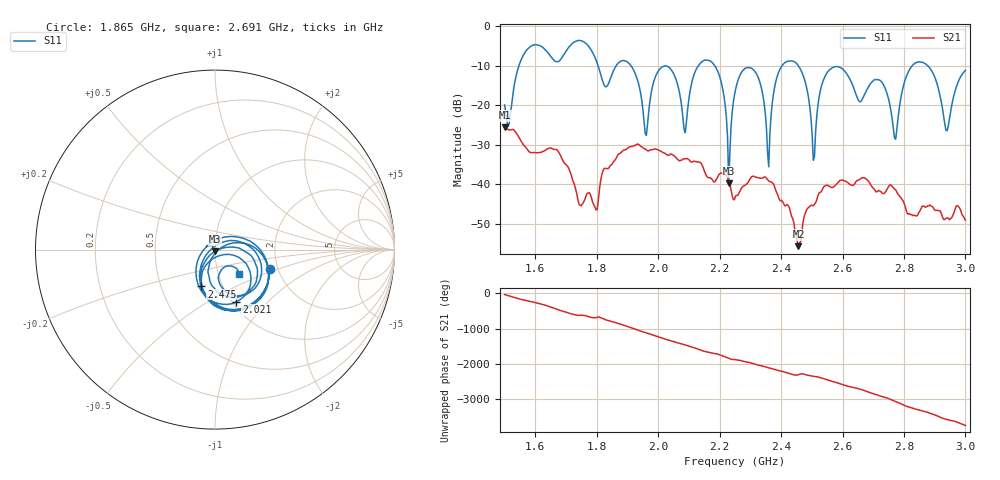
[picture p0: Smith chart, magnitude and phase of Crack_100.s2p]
# HZ S RI R 50
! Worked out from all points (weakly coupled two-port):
!   404 points, 1.5 GHz to 3 GHz, reference 50 ohm
!   highest |S21| = -25.58 dB at 1.5 GHz (marker M1); lowest = -55.7 dB at 2.457 GHz (marker M2)
!   lowest |S11| = -39.7 dB at 2.23 GHz (marker M3), VSWR 1.02, Z = 49.8 - j1 ohm
!   |S11| at or under -10 dB: 1.911 GHz to 2.131 GHz (219.2 MHz wide, 10.8 % of centre); 2.184 GHz to 2.403 GHz (218.7 MHz wide, 9.54 % of centre); 2.456 GHz to 2.827 GHz (370.5 MHz wide, 14 % of centre) (the widest 3 of 6)
!   S12 and S22 are empty: the file has one direction only
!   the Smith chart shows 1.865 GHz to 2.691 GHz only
!   S11 on the Smith chart (normalised r, x): 1.865 GHz: 1.80, -0.44; 2.021 GHz: 1.05, -0.68; 2.475 GHz: 0.79, -0.34; 2.691 GHz: 1.25, -0.35
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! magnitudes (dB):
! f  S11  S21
! 1.5 GHz  -19.9  -25.6
! 1.753 GHz  -3.8  -45.0
! 1.865 GHz  -9.8  -33.2
! 1.962 GHz  -27.6  -31.3
! 2.002 GHz  -11.1  -31.4
! 2.021 GHz  -10.0  -32.1
! 2.088 GHz  -27.0  -33.6
! 2.181 GHz  -9.7  -39.4
! 2.23 GHz  -39.7  -39.1
! 2.252 GHz  -16.0  -43.0
! 2.315 GHz  -11.5  -38.1
! 2.36 GHz  -35.6  -39.2
! 2.393 GHz  -11.4  -43.7
! 2.457 GHz  -10.0  -55.7
! 2.475 GHz  -13.2  -48.2
! 2.501 GHz  -27.6  -45.4
! 2.561 GHz  -10.8  -40.7
! 2.691 GHz  -14.5  -40.1
! 2.751 GHz  -18.6  -40.5
! 2.862 GHz  -9.2  -45.5
! 2.94 GHz  -26.5  -48.5
! 3 GHz  -11.2  -49.1
